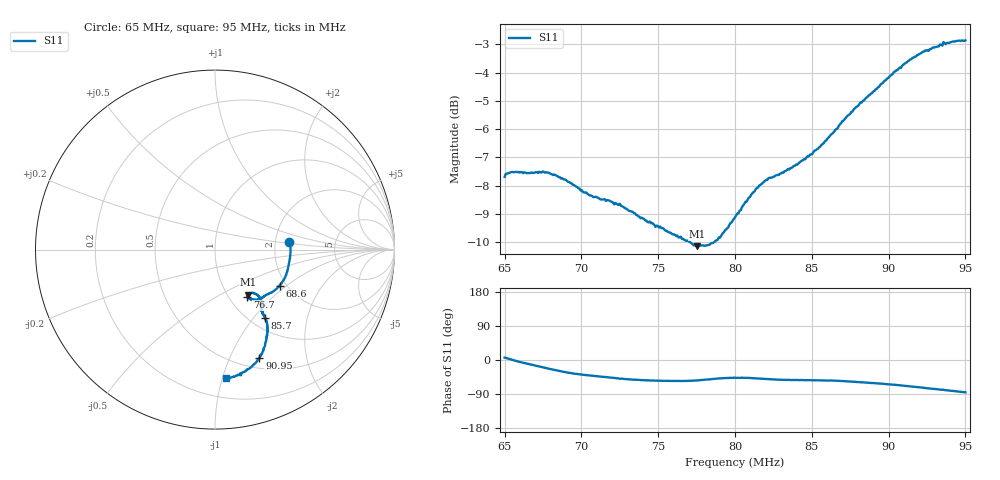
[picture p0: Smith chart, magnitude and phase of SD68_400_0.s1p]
! NanoVNA-App
! Date: 2025-08-02 16:18:04
! Start: 65MHz Stop: 95MHz Points: 401
! S-Parameter data: F S11
# Hz S RI R 50
!  Frequency  S11_Real  S11_Imag
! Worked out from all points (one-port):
!   401 points, 65 MHz to 95 MHz, reference 50 ohm
!   lowest |S11| = -10.1 dB at 77.53 MHz (marker M1), VSWR 1.90, Z = 61.9 - j34.4 ohm
!   |S11| at or under -10 dB: 77.05 MHz to 78.65 MHz (1.605 MHz wide, 2.06 % of centre)
!   S11 on the Smith chart (normalised r, x): 65 MHz: 2.37, +0.25; 68.6 MHz: 1.85, -0.89; 76.7 MHz: 1.21, -0.71; 85.7 MHz: 1.17, -1.14; 90.95 MHz: 0.62, -1.30; 95 MHz: 0.35, -1.03
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6.5e7  0.4101 0.0446
6.575e7  0.4206 -0.0186
6.695e7  0.4065 -0.1035
6.785e7  0.3866 -0.1624
6.86e7  0.3598 -0.2002
6.875e7  0.354 -0.2071
6.9725e7  0.3156 -0.2388
7.0625e7  0.2876 -0.252
7.25e7  0.2401 -0.2812
7.4e7  0.2088 -0.2786
7.625e7  0.1847 -0.2671
7.67e7  0.1809 -0.2629
7.7525e7  0.1833 -0.2511
7.8725e7  0.2055 -0.2424
8e7  0.2405 -0.254
8.0825e7  0.2546 -0.2764
8.1725e7  0.2607 -0.304
8.375e7  0.2601 -0.3415
8.57e7  0.2795 -0.3796
8.6525e7  0.2895 -0.4071
8.75e7  0.2929 -0.4455
8.96e7  0.2786 -0.536
9.095e7  0.2474 -0.6024
9.125e7  0.2366 -0.6167
9.2225e7  0.1983 -0.6579
9.35e7  0.1378 -0.6906
9.4325e7  0.0956 -0.7095
9.5e7  0.0599 -0.7169
